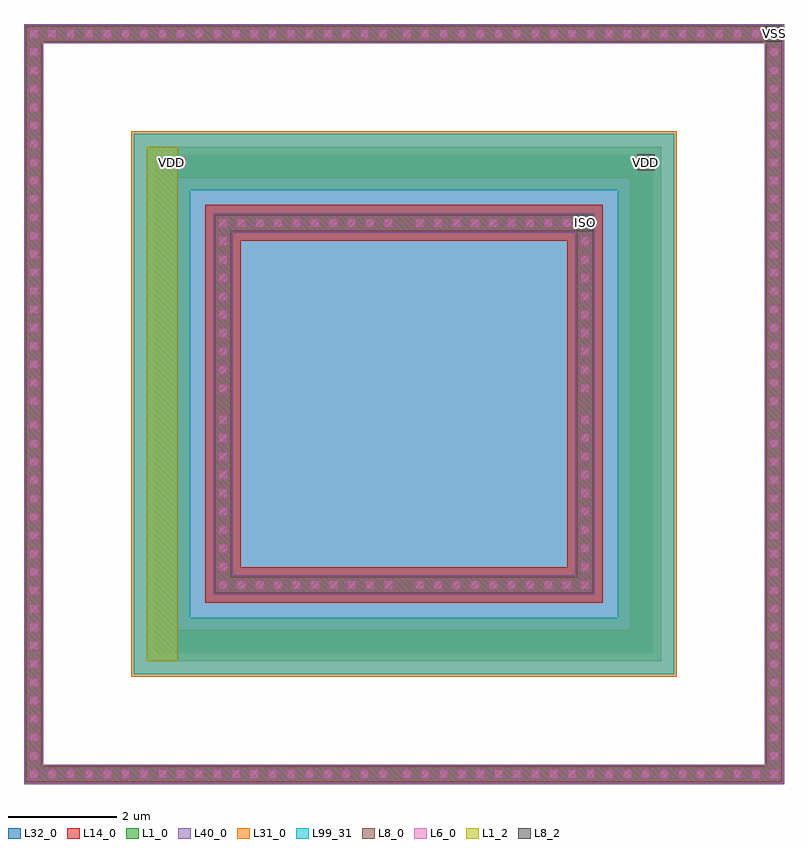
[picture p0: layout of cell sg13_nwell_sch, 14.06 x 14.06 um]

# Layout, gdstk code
import gdstk
lib = gdstk.Library(unit=1e-6, precision=1e-09)
def R(c, l, rs):  # rectangles x0, y0, x1, y1
    for r in rs: c.add(gdstk.rectangle(r[:2], r[2:], *l))
def A(c, l, x, y, w, h, nx, ny, dx, dy):  # array of equal rectangles
    R(c, l, [(x+i*dx, y+j*dy, x+i*dx+w, y+j*dy+h) for i in range(nx) for j in range(ny)])
def P(c, l, *ps):  # polygons
    for p in ps: c.add(gdstk.Polygon(p, *l))
L1_0 = (1, 0)
L1_2 = (1, 2)
L6_0 = (6, 0)
L8_0 = (8, 0)
L8_2 = (8, 2)
L14_0 = (14, 0)
L31_0 = (31, 0)
L32_0 = (32, 0)
L40_0 = (40, 0)
L99_31 = (99, 31)

isolbox = lib.new_cell('isolbox')
P(isolbox, L1_0, [(-0.81,-0.81),(-0.81,-0.24),(8.14,-0.24),(8.14,8.14),(-0.24,8.14),(-0.24,-0.24),(-0.81,-0.24),(-0.81,8.71),(8.71,8.71),(8.71,-0.81)])
R(isolbox, L1_2, [(-0.81,-0.81,-0.24,8.71)])
P(isolbox, L31_0, [(-1.05,-1.05),(-1.05,0),(7.9,0),(7.9,7.9),(0,7.9),(0,0),(-1.05,0),(-1.05,8.95),(8.95,8.95),(8.95,-1.05)])
R(isolbox, L32_0, [(-0.65,-0.65,8.55,8.55)])
P(isolbox, L99_31, [(-1.05,-1.05),(-1.05,0),(7.9,0),(7.9,7.9),(0,7.9),(0,0),(-1.05,0),(-1.05,8.95),(8.95,8.95),(8.95,-1.05)])
isolbox.add(gdstk.Label('isolbox', (0,-0.525), layer=63, texttype=0))

guard_ring_5 = lib.new_cell('guard_ring$5')
R(guard_ring_5, L1_0, [(-7,-6.7,-6.7,6.7), (6.7,-6.7,7,6.7), (-7,6.7,7,7)])
P(guard_ring_5, L1_0, [(-7,-7),(-7,6.7),(-6.7,6.7),(-6.7,-6.7),(6.7,-6.7),(6.7,6.7),(-7,6.7),(-7,7),(7,7),(7,-7)])
A(guard_ring_5, L6_0, -6.93, -6.93, 0.16, 0.16, 20, 2, 0.34, 13.7)
A(guard_ring_5, L6_0, -0.03, -6.93, 0.16, 0.16, 21, 2, 0.34, 13.7)
A(guard_ring_5, L6_0, -6.93, -6.59, 0.16, 0.16, 1, 19, 0, 0.34)
A(guard_ring_5, L6_0, 6.77, -6.59, 0.16, 0.16, 1, 19, 0, 0.34)
A(guard_ring_5, L6_0, -6.93, -0.03, 0.16, 0.16, 1, 20, 0, 0.34)
A(guard_ring_5, L6_0, 6.77, -0.03, 0.16, 0.16, 1, 20, 0, 0.34)
R(guard_ring_5, L8_0, [(-7,-7,7,-6.7), (-7,-6.7,-6.7,6.7), (6.7,-6.7,7,6.7), (-7,6.7,7,7)])
R(guard_ring_5, L14_0, [(-7.03,-6.67,-6.67,6.67), (6.67,-6.67,7.03,6.67), (-7.03,6.67,7.03,7.03)])
P(guard_ring_5, L14_0, [(-7.03,-7.03),(-7.03,6.67),(-6.67,6.67),(-6.67,-6.67),(6.67,-6.67),(6.67,6.67),(-7.03,6.67),(-7.03,7.03),(7.03,7.03),(7.03,-7.03)])
R(guard_ring_5, L40_0, [(-7.03,-6.67,-6.67,6.67), (6.67,-6.67,7.03,6.67), (-7.03,6.67,7.03,7.03)])
P(guard_ring_5, L40_0, [(-7.03,-7.03),(-7.03,6.67),(-6.67,6.67),(-6.67,-6.67),(6.67,-6.67),(6.67,6.67),(-7.03,6.67),(-7.03,7.03),(7.03,7.03),(7.03,-7.03)])
guard_ring_5.add(gdstk.Label('sub!', (0,-6.85), layer=63, texttype=0))

guard_ring = lib.new_cell('guard_ring')
R(guard_ring, L1_0, [(-3.5,-3.2,-3.2,3.2), (3.2,-3.2,3.5,3.2), (-3.5,3.2,3.5,3.5)])
P(guard_ring, L1_0, [(-3.5,-3.5),(-3.5,3.2),(-3.2,3.2),(-3.2,-3.2),(3.2,-3.2),(3.2,3.2),(-3.5,3.2),(-3.5,3.5),(3.5,3.5),(3.5,-3.5)])
A(guard_ring, L6_0, -3.43, -3.43, 0.16, 0.16, 10, 2, 0.34, 6.7)
A(guard_ring, L6_0, 0.21, -3.43, 0.16, 0.16, 10, 2, 0.34, 6.7)
A(guard_ring, L6_0, -3.43, -3.09, 0.16, 0.16, 1, 9, 0, 0.34)
A(guard_ring, L6_0, 3.27, -3.09, 0.16, 0.16, 1, 9, 0, 0.34)
A(guard_ring, L6_0, -3.43, 0.21, 0.16, 0.16, 1, 9, 0, 0.34)
A(guard_ring, L6_0, 3.27, 0.21, 0.16, 0.16, 1, 9, 0, 0.34)
R(guard_ring, L8_0, [(-3.5,-3.5,3.5,-3.2), (-3.5,-3.2,-3.2,3.2), (3.2,-3.2,3.5,3.2), (-3.5,3.2,3.5,3.5)])
R(guard_ring, L14_0, [(-3.53,-3.17,-3.17,3.17), (3.17,-3.17,3.53,3.17), (-3.53,3.17,3.53,3.53)])
P(guard_ring, L14_0, [(-3.53,-3.53),(-3.53,3.17),(-3.17,3.17),(-3.17,-3.17),(3.17,-3.17),(3.17,3.17),(-3.53,3.17),(-3.53,3.53),(3.53,3.53),(3.53,-3.53)])
R(guard_ring, L40_0, [(-3.53,-3.17,-3.17,3.17), (3.17,-3.17,3.53,3.17), (-3.53,3.17,3.53,3.53)])
P(guard_ring, L40_0, [(-3.53,-3.53),(-3.53,3.17),(-3.17,3.17),(-3.17,-3.17),(3.17,-3.17),(3.17,3.17),(-3.53,3.17),(-3.53,3.53),(3.53,3.53),(3.53,-3.53)])
guard_ring.add(gdstk.Label('sub!', (0,-3.35), layer=63, texttype=0))

sg13_nwell_sch = lib.new_cell('sg13_nwell_sch')
R(sg13_nwell_sch, L6_0, [(0.445,9.395,0.605,9.555), (0.805,9.395,0.965,9.555)])
R(sg13_nwell_sch, L8_2, [(8.2,8.2,8.5,8.5), (9.325,9.325,9.625,9.625), (0.64,9.41,0.77,9.54), (11.7,11.7,12,12)])
R(sg13_nwell_sch, L14_0, [(1.32,1.32,8.53,1.98), (8.02,1.32,8.68,8.53), (1.32,1.47,1.98,8.53), (1.32,8.02,8.68,8.685)])
R(sg13_nwell_sch, L31_0, [(-0.05,-0.05,10.05,0), (-0.05,0,0,10.05), (10,0,10.05,10), (0.53,9.295,0.98,9.6), (0,10,10.05,10.05)])
sg13_nwell_sch.add(gdstk.FlexPath([(0.965,9.475),(0.445,9.475),(0.445,9.475)], 0.16, ends="flush", simple_path=True, layer=8, datatype=0))  # L8_0
sg13_nwell_sch.add(gdstk.Reference(isolbox, (1.05,1.05)))
sg13_nwell_sch.add(gdstk.Reference(guard_ring_5, (5,5)))
sg13_nwell_sch.add(gdstk.Reference(guard_ring, (5,5)))
sg13_nwell_sch.add(gdstk.Label('VDD', (0.705,9.475), layer=8, texttype=25))
sg13_nwell_sch.add(gdstk.Label('VSS', (11.85,11.85), layer=8, texttype=25))
sg13_nwell_sch.add(gdstk.Label('VDD', (9.475,9.475), layer=8, texttype=25))
sg13_nwell_sch.add(gdstk.Label('ISO', (8.35,8.35), layer=8, texttype=25))

lib.write_gds('sg13_nwell_sch.gds')
